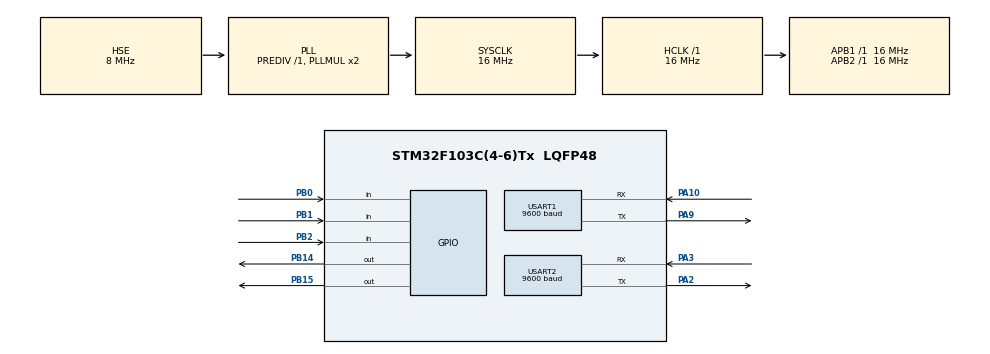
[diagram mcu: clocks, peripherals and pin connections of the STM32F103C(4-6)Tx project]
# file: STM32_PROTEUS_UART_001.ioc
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Dma.Request0=USART2_TX
Dma.USART2_TX.0.Direction=DMA_MEMORY_TO_PERIPH
Dma.USART2_TX.0.Instance=DMA1_Channel7
Dma.USART2_TX.0.MemDataAlignment=DMA_MDATAALIGN_BYTE
Dma.USART2_TX.0.MemInc=DMA_MINC_ENABLE
Dma.USART2_TX.0.Mode=DMA_CIRCULAR
Dma.USART2_TX.0.PeriphDataAlignment=DMA_PDATAALIGN_BYTE
Dma.USART2_TX.0.PeriphInc=DMA_PINC_DISABLE
Dma.USART2_TX.0.Priority=DMA_PRIORITY_LOW
Mcu.Family=STM32F1
Mcu.Name=STM32F103C(4-6)Tx
Mcu.Package=LQFP48
NVIC.DMA1_Channel7_IRQn=true\:0\:0\:false\:false\:true\:false\:true\:true
NVIC.PriorityGroup=NVIC_PRIORITYGROUP_4
NVIC.USART1_IRQn=true\:0\:0\:false\:false\:true\:true\:true\:true
NVIC.USART2_IRQn=true\:0\:0\:false\:false\:true\:true\:true\:true
PA10.Mode=Asynchronous
PA10.Signal=USART1_RX
PA13.Mode=Serial_Wire
PA13.Signal=SYS_JTMS-SWDIO
PA14.Mode=Serial_Wire
PA14.Signal=SYS_JTCK-SWCLK
PA2.Mode=Asynchronous
PA2.Signal=USART2_TX
PA3.Mode=Asynchronous
PA3.Signal=USART2_RX
PA9.Mode=Asynchronous
PA9.Signal=USART1_TX
PB0.Signal=GPIO_Input
PB1.Signal=GPIO_Input
PB14.Signal=GPIO_Output
PB15.Signal=GPIO_Output
PB2.Signal=GPIO_Input
PD0-OSC_IN.Mode=HSE-External-Oscillator
PD0-OSC_IN.Signal=RCC_OSC_IN
PD1-OSC_OUT.Mode=HSE-External-Oscillator
PD1-OSC_OUT.Signal=RCC_OSC_OUT
ProjectManager.HeapSize=0x200
ProjectManager.StackSize=0x400
ProjectManager.TargetToolchain=STM32CubeIDE
RCC.AHBFreq_Value=16000000
RCC.APB1Freq_Value=16000000
RCC.APB1TimFreq_Value=16000000
RCC.APB2Freq_Value=16000000
RCC.APB2TimFreq_Value=16000000
RCC.HCLKFreq_Value=16000000
RCC.PLLSourceVirtual=RCC_PLLSOURCE_HSE
RCC.SYSCLKFreq_VALUE=16000000
RCC.SYSCLKSource=RCC_SYSCLKSOURCE_PLLCLK
RCC.USBFreq_Value=16000000
USART1.BaudRate=9600
USART1.VirtualMode=VM_ASYNC
USART2.BaudRate=9600
USART2.VirtualMode=VM_ASYNC
board=custom

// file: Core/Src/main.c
/* USER CODE BEGIN Header */
/**
  ******************************************************************************
  * @file           : main.c
  * @brief          : Main program body
  ******************************************************************************
  * @attention
  *
  * Copyright (c) 2024 STMicroelectronics.
  * All rights reserved.
  *
  * This software is licensed under terms that can be found in the LICENSE file
  * in the root directory of this software component.
  * If no LICENSE file comes with this software, it is provided AS-IS.
  *
  ******************************************************************************
  */
/* USER CODE END Header */
#include "main.h"

/* USER CODE BEGIN Includes */

char str0[50] = "USART Polling Mode\n\r";
char str1[50] = "USART Interrupt Mode\n\r";
char str2[50] = "USART DMA Mode\n\r";

/* USER CODE END Includes */

UART_HandleTypeDef huart1;
UART_HandleTypeDef huart2;
DMA_HandleTypeDef hdma_usart2_tx;

void SystemClock_Config(void);
static void MX_GPIO_Init(void);
static void MX_DMA_Init(void);
static void MX_USART1_UART_Init(void);
static void MX_USART2_UART_Init(void);

int main(void)
{

  /* MCU Configuration--------------------------------------------------------*/

  /* Reset of all peripherals, Initializes the Flash interface and the Systick. */
  HAL_Init();

  /* Configure the system clock */
  SystemClock_Config();

  /* Initialize all configured peripherals */
  MX_GPIO_Init();
  MX_DMA_Init();
  MX_USART1_UART_Init();
  MX_USART2_UART_Init();

  /* Infinite loop */
  while (1)
  {

    /* USER CODE BEGIN 3 */

	  // Polling Mode
	  if(HAL_GPIO_ReadPin(GPIOB,GPIO_PIN_0))
	  {
		  HAL_UART_Transmit(&huart1, (uint8_t *)str0, sizeof(str0), HAL_MAX_DELAY);
		  HAL_Delay(200);

	  }
	  if(HAL_GPIO_ReadPin(GPIOB,GPIO_PIN_1))
	  {
		  HAL_UART_Transmit_IT(&huart1, (uint8_t *)str1, sizeof(str1)); // Interrupt Mode
		  HAL_Delay(200);

	  }
	  if(HAL_GPIO_ReadPin(GPIOB,GPIO_PIN_2))
	  {
		  HAL_UART_Transmit_DMA(&huart2, (uint8_t *)str2, sizeof(str2)); // DMA Mode
		  HAL_Delay(200);
	  }

  }
  /* USER CODE END 3 */
}

void SystemClock_Config(void)
{
  RCC_OscInitTypeDef RCC_OscInitStruct = {0};
  RCC_ClkInitTypeDef RCC_ClkInitStruct = {0};

  /** Initializes the RCC Oscillators according to the specified parameters
  * in the RCC_OscInitTypeDef structure.
  */
  RCC_OscInitStruct.OscillatorType = RCC_OSCILLATORTYPE_HSE;
  RCC_OscInitStruct.HSEState = RCC_HSE_ON;
  RCC_OscInitStruct.HSEPredivValue = RCC_HSE_PREDIV_DIV1;
  RCC_OscInitStruct.HSIState = RCC_HSI_ON;
  RCC_OscInitStruct.PLL.PLLState = RCC_PLL_ON;
  RCC_OscInitStruct.PLL.PLLSource = RCC_PLLSOURCE_HSE;
  RCC_OscInitStruct.PLL.PLLMUL = RCC_PLL_MUL2;
  if (HAL_RCC_OscConfig(&RCC_OscInitStruct) != HAL_OK)
  {
    Error_Handler();
  }

  /** Initializes the CPU, AHB and APB buses clocks
  */
  RCC_ClkInitStruct.ClockType = RCC_CLOCKTYPE_HCLK|RCC_CLOCKTYPE_SYSCLK
                              |RCC_CLOCKTYPE_PCLK1|RCC_CLOCKTYPE_PCLK2;
  RCC_ClkInitStruct.SYSCLKSource = RCC_SYSCLKSOURCE_PLLCLK;
  RCC_ClkInitStruct.AHBCLKDivider = RCC_SYSCLK_DIV1;
  RCC_ClkInitStruct.APB1CLKDivider = RCC_HCLK_DIV1;
  RCC_ClkInitStruct.APB2CLKDivider = RCC_HCLK_DIV1;

  if (HAL_RCC_ClockConfig(&RCC_ClkInitStruct, FLASH_LATENCY_0) != HAL_OK)
  {
    Error_Handler();
  }
}

static void MX_USART1_UART_Init(void)
{

  huart1.Instance = USART1;
  huart1.Init.BaudRate = 9600;
  huart1.Init.WordLength = UART_WORDLENGTH_8B;
  huart1.Init.StopBits = UART_STOPBITS_1;
  huart1.Init.Parity = UART_PARITY_NONE;
  huart1.Init.Mode = UART_MODE_TX_RX;
  huart1.Init.HwFlowCtl = UART_HWCONTROL_NONE;
  huart1.Init.OverSampling = UART_OVERSAMPLING_16;
  if (HAL_UART_Init(&huart1) != HAL_OK)
  {
    Error_Handler();
  }

}

static void MX_USART2_UART_Init(void)
{

  huart2.Instance = USART2;
  huart2.Init.BaudRate = 9600;
  huart2.Init.WordLength = UART_WORDLENGTH_8B;
  huart2.Init.StopBits = UART_STOPBITS_1;
  huart2.Init.Parity = UART_PARITY_NONE;
  huart2.Init.Mode = UART_MODE_TX_RX;
  huart2.Init.HwFlowCtl = UART_HWCONTROL_NONE;
  huart2.Init.OverSampling = UART_OVERSAMPLING_16;
  if (HAL_UART_Init(&huart2) != HAL_OK)
  {
    Error_Handler();
  }

}

static void MX_DMA_Init(void)
{

  /* DMA controller clock enable */
  __HAL_RCC_DMA1_CLK_ENABLE();

  /* DMA interrupt init */
  /* DMA1_Channel7_IRQn interrupt configuration */
  HAL_NVIC_SetPriority(DMA1_Channel7_IRQn, 0, 0);
  HAL_NVIC_EnableIRQ(DMA1_Channel7_IRQn);

}

static void MX_GPIO_Init(void)
{
  GPIO_InitTypeDef GPIO_InitStruct = {0};

  /* GPIO Ports Clock Enable */
  __HAL_RCC_GPIOD_CLK_ENABLE();
  __HAL_RCC_GPIOA_CLK_ENABLE();
  __HAL_RCC_GPIOB_CLK_ENABLE();

  /*Configure GPIO pin Output Level */
  HAL_GPIO_WritePin(GPIOB, GPIO_PIN_14|GPIO_PIN_15, GPIO_PIN_RESET);

  /*Configure GPIO pins : PB0 PB1 PB2 */
  GPIO_InitStruct.Pin = GPIO_PIN_0|GPIO_PIN_1|GPIO_PIN_2;
  GPIO_InitStruct.Mode = GPIO_MODE_INPUT;
  GPIO_InitStruct.Pull = GPIO_NOPULL;
  HAL_GPIO_Init(GPIOB, &GPIO_InitStruct);

  /*Configure GPIO pins : PB14 PB15 */
  GPIO_InitStruct.Pin = GPIO_PIN_14|GPIO_PIN_15;
  GPIO_InitStruct.Mode = GPIO_MODE_OUTPUT_PP;
  GPIO_InitStruct.Pull = GPIO_NOPULL;
  GPIO_InitStruct.Speed = GPIO_SPEED_FREQ_LOW;
  HAL_GPIO_Init(GPIOB, &GPIO_InitStruct);

}

/* USER CODE BEGIN 4 */

void HAL_UART_TxCpltCallback(UART_HandleTypeDef *huart)
{
	if(huart == &huart1)
	{
		HAL_GPIO_WritePin(GPIOB,GPIO_PIN_14,GPIO_PIN_RESET);
		HAL_GPIO_WritePin(GPIOB,GPIO_PIN_15,GPIO_PIN_SET);

	}
	if(huart == &huart2)
	{
		HAL_GPIO_WritePin(GPIOB,GPIO_PIN_14,GPIO_PIN_SET);
		HAL_GPIO_WritePin(GPIOB,GPIO_PIN_15,GPIO_PIN_RESET);
	}
}

/* USER CODE END 4 */

void Error_Handler(void)
{
  __disable_irq();
  while (1)
  {
  }
}
